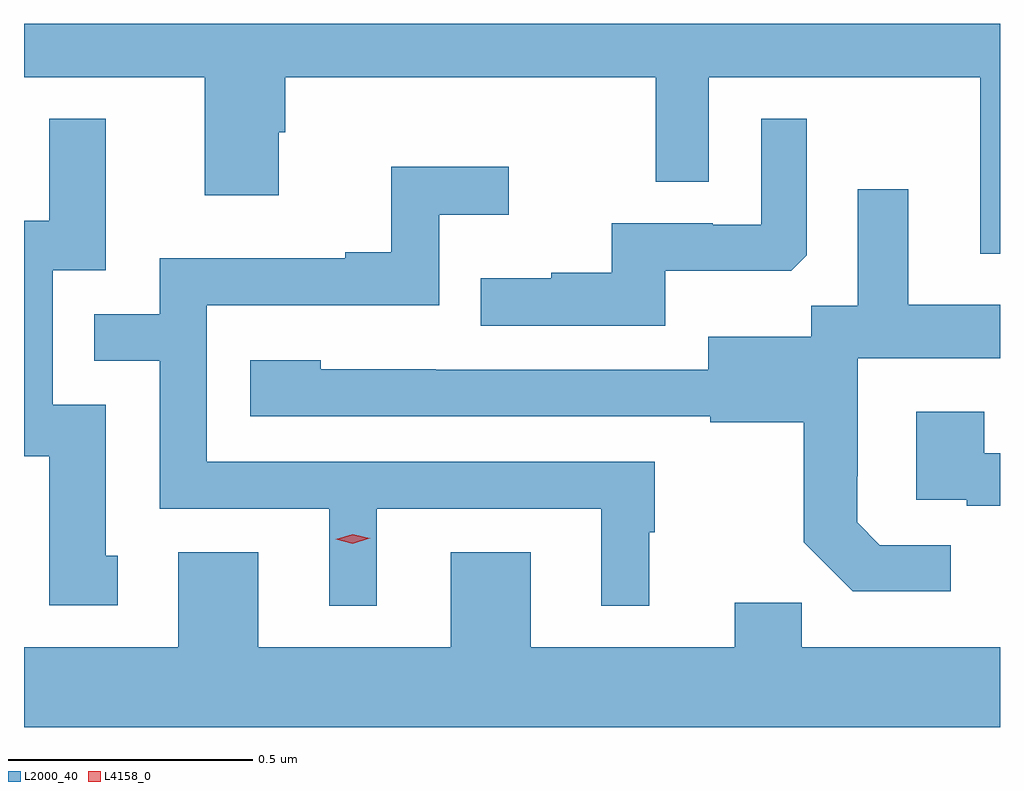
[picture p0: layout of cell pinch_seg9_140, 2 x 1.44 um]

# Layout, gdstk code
import gdstk
lib = gdstk.Library(unit=1e-6, precision=1e-09)
def P(c, l, *ps):  # polygons
    for p in ps: c.add(gdstk.Polygon(p, *l))
L2000_40 = (2000, 40)
L4158_0 = (4158, 0)

pinch_seg9_140 = lib.new_cell('pinch_seg9_140')
P(pinch_seg9_140, L2000_40, [(654.333,1240.486),(652.333,1240.486),(652.333,1240.376),(652.703,1240.376),(652.703,1240.134),(652.855,1240.134),(652.855,1240.263),(652.868,1240.263),(652.868,1240.376),(653.628,1240.376),(653.628,1240.162),(653.736,1240.162),(653.736,1240.376),(654.293,1240.376),(654.293,1240.014),(654.333,1240.014)],
  [(652.525,1239.396),(652.501,1239.396),(652.501,1239.705),(652.392,1239.705),(652.392,1239.981),(652.501,1239.981),(652.501,1240.291),(652.385,1240.291),(652.385,1240.082),(652.333,1240.082),(652.333,1239.6),(652.385,1239.6),(652.385,1239.294),(652.525,1239.294)],
  [(653.647,1239.98),(653.905,1239.98),(653.937,1240.011),(653.937,1240.291),(653.844,1240.291),(653.844,1240.074),(653.744,1240.074),(653.744,1240.077),(653.537,1240.077),(653.537,1239.976),(653.413,1239.976),(653.413,1239.964),(653.269,1239.964),(653.269,1239.867),(653.647,1239.867)],
  [(653.056,1239.492),(653.516,1239.492),(653.516,1239.293),(653.614,1239.293),(653.614,1239.444),(653.626,1239.444),(653.626,1239.588),(652.707,1239.588),(652.707,1239.909),(653.184,1239.909),(653.184,1240.094),(653.326,1240.094),(653.326,1240.193),(653.086,1240.193),(653.086,1240.018),(652.991,1240.018),(652.991,1240.005),(652.611,1240.005),(652.611,1239.891),(652.477,1239.891),(652.477,1239.795),(652.611,1239.795),(652.611,1239.492),(652.958,1239.492),(652.958,1239.293),(653.056,1239.293)],
  [(654.232,1239.417),(654.087,1239.417),(654.04,1239.464),(654.04,1239.559),(654.042,1239.559),(654.042,1239.8),(654.333,1239.8),(654.333,1239.91),(654.145,1239.91),(654.145,1240.147),(654.041,1240.147),(654.041,1239.908),(653.946,1239.908),(653.946,1239.844),(653.735,1239.844),(653.735,1239.777),(653.177,1239.777),(653.177,1239.778),(652.941,1239.778),(652.941,1239.796),(652.797,1239.796),(652.797,1239.681),(653.739,1239.681),(653.739,1239.669),(653.931,1239.669),(653.931,1239.423),(654.031,1239.323),(654.232,1239.323)],
  [(654.333,1239.606),(654.301,1239.606),(654.301,1239.691),(654.161,1239.691),(654.161,1239.51),(654.265,1239.51),(654.265,1239.498),(654.333,1239.498)],
  [(654.333,1239.208),(653.927,1239.208),(653.927,1239.299),(653.789,1239.299),(653.789,1239.208),(653.371,1239.208),(653.371,1239.403),(653.207,1239.403),(653.207,1239.208),(652.813,1239.208),(652.813,1239.403),(652.649,1239.403),(652.649,1239.208),(652.333,1239.208),(652.333,1239.044),(654.333,1239.044)])
P(pinch_seg9_140, L4158_0, [(653.007,1239.42),(652.972,1239.429),(652.971,1239.429),(652.972,1239.429),(653.007,1239.44),(653.042,1239.431),(653.043,1239.431),(653.042,1239.431)])

lib.write_gds('pinch_seg9_140.gds')
